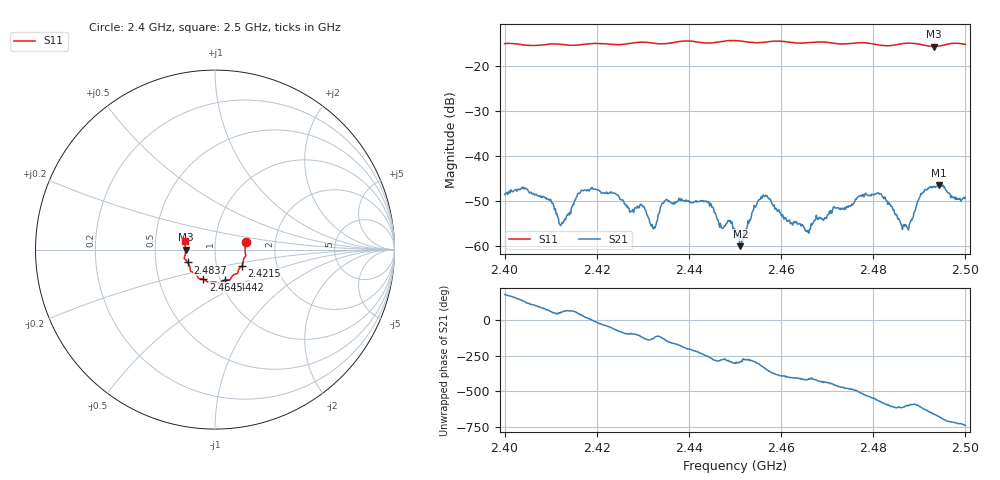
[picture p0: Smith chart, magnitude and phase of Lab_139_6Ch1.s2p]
# Hz S RI R 50
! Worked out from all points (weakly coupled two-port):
!   601 points, 2.4 GHz to 2.5 GHz, reference 50 ohm
!   highest |S21| = -46.49 dB at 2.4943 GHz (marker M1); lowest = -60.1 dB at 2.4512 GHz (marker M2)
!   lowest |S11| = -15.7 dB at 2.4932 GHz (marker M3), VSWR 1.39, Z = 36 - j0.0525 ohm
!   |S11| at or under -10 dB: start of sweep to end of sweep
!   S12 and S22 are empty: the file has one direction only
!   S11 on the Smith chart (normalised r, x): 2.4 GHz: 1.41, +0.12; 2.4215 GHz: 1.33, -0.25; 2.4442 GHz: 1.05, -0.37; 2.4645 GHz: 0.83, -0.29; 2.4837 GHz: 0.73, -0.11; 2.5 GHz: 0.71, +0.07
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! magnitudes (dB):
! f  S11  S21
! 2.4 GHz  -15.1  -48.6
! 2.4095 GHz  -15.2  -49.6
! 2.4123 GHz  -15.2  -55.3
! 2.4167 GHz  -15.3  -47.7
! 2.4215 GHz  -15.1  -48.3
! 2.4298 GHz  -14.8  -51.1
! 2.4322 GHz  -15.0  -56.1
! 2.4333 GHz  -15.1  -53.1
! 2.4352 GHz  -15.1  -49.7
! 2.4442 GHz  -15.0  -50.2
! 2.45 GHz  -14.4  -56.8
! 2.4512 GHz  -14.5  -60.1
! 2.4565 GHz  -14.8  -49.0
! 2.4645 GHz  -15.0  -55.3
! 2.4667 GHz  -14.8  -55.4
! 2.4773 GHz  -14.9  -48.8
! 2.4833 GHz  -15.6  -50.3
! 2.4837 GHz  -15.5  -50.8
! 2.4873 GHz  -15.0  -55.9
! 2.4932 GHz  -15.7  -47.0
! 2.4943 GHz  -15.6  -46.5
! 2.5 GHz  -15.3  -49.3
